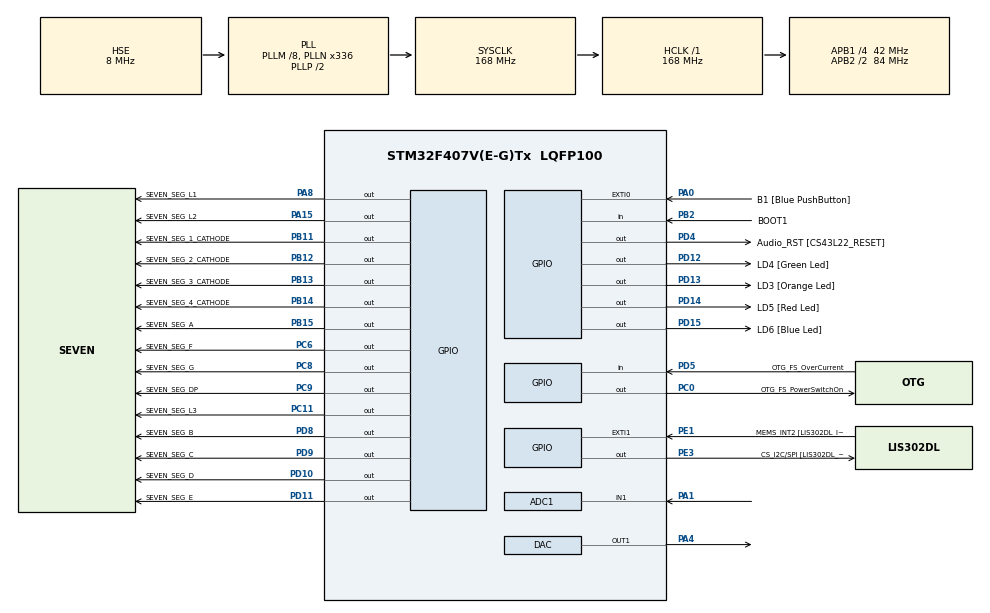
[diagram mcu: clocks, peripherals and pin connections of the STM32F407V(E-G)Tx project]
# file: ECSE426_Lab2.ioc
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ADC1.Channel-0\#ChannelRegularConversion=ADC_CHANNEL_1
ADC1.NbrOfConversionFlag=1
ADC1.Rank-0\#ChannelRegularConversion=1
ADC1.Resolution=ADC_RESOLUTION_10B
ADC1.SamplingTime-0\#ChannelRegularConversion=ADC_SAMPLETIME_3CYCLES
ADC1.master=1
Mcu.Family=STM32F4
Mcu.Name=STM32F407V(E-G)Tx
Mcu.Package=LQFP100
NVIC.ADC_IRQn=true\:0\:0\:false\:true\:true\:1\:true
NVIC.PriorityGroup=NVIC_PRIORITYGROUP_0
PA0-WKUP.GPIO_Label=B1 [Blue PushButton]
PA0-WKUP.GPIO_ModeDefaultEXTI=GPIO_MODE_EVT_RISING
PA0-WKUP.GPIO_PuPd=GPIO_NOPULL
PA0-WKUP.Signal=GPXTI0
PA1.Signal=ADCx_IN1
PA10.GPIO_Label=OTG_FS_ID
PA10.GPIO_Mode=GPIO_MODE_AF_PP
PA10.GPIO_PuPd=GPIO_NOPULL
PA10.GPIO_Speed=GPIO_SPEED_FREQ_LOW
PA10.Signal=USB_OTG_FS_ID
PA11.GPIO_Label=OTG_FS_DM
PA11.GPIO_Mode=GPIO_MODE_AF_PP
PA11.GPIO_PuPd=GPIO_NOPULL
PA11.GPIO_Speed=GPIO_SPEED_FREQ_LOW
PA11.Signal=USB_OTG_FS_DM
PA12.GPIO_Label=OTG_FS_DP
PA12.GPIO_Mode=GPIO_MODE_AF_PP
PA12.GPIO_PuPd=GPIO_NOPULL
PA12.GPIO_Speed=GPIO_SPEED_FREQ_LOW
PA12.Signal=USB_OTG_FS_DP
PA13.GPIO_Label=SWDIO
PA13.Mode=Serial_Wire
PA13.Signal=SYS_JTMS-SWDIO
PA14.GPIO_Label=SWCLK
PA14.Mode=Serial_Wire
PA14.Signal=SYS_JTCK-SWCLK
PA15.GPIO_Label=SEVEN_SEG_L2
PA15.Signal=GPIO_Output
PA4.Signal=COMP_DAC1_group
PA5.GPIO_Label=SPI1_SCK [LIS302DL_SCL/SPC]
PA5.GPIO_Mode=GPIO_MODE_AF_PP
PA5.GPIO_PuPd=GPIO_NOPULL
PA5.GPIO_Speed=GPIO_SPEED_FREQ_LOW
PA5.Signal=SPI1_SCK
PA6.GPIO_Label=SPI1_MISO [LIS302DL_SDO]
PA6.GPIO_Mode=GPIO_MODE_AF_PP
PA6.GPIO_PuPd=GPIO_NOPULL
PA6.GPIO_Speed=GPIO_SPEED_FREQ_LOW
PA6.Signal=SPI1_MISO
PA7.GPIO_Label=SPI1_MOSI [LIS302DL_SDA/SDI/SDO]
PA7.GPIO_Mode=GPIO_MODE_AF_PP
PA7.GPIO_PuPd=GPIO_NOPULL
PA7.GPIO_Speed=GPIO_SPEED_FREQ_LOW
PA7.Signal=SPI1_MOSI
PA8.GPIO_Label=SEVEN_SEG_L1
PA8.Signal=GPIO_Output
PA9.GPIO_Label=VBUS_FS
PA9.GPIO_Mode=GPIO_MODE_INPUT
PA9.GPIO_PuPd=GPIO_NOPULL
PA9.Signal=USB_OTG_FS_VBUS
PB10.GPIO_Label=CLK_IN [MP45DT02_CLK]
PB10.GPIO_Mode=GPIO_MODE_AF_PP
PB10.GPIO_PuPd=GPIO_NOPULL
PB10.GPIO_Speed=GPIO_SPEED_FREQ_LOW
PB10.Signal=I2S2_CK
PB11.GPIO_Label=SEVEN_SEG_1_CATHODE 
PB11.Signal=GPIO_Output
PB12.GPIO_Label=SEVEN_SEG_2_CATHODE
PB12.Signal=GPIO_Output
PB13.GPIO_Label=SEVEN_SEG_3_CATHODE
PB13.Signal=GPIO_Output
PB14.GPIO_Label=SEVEN_SEG_4_CATHODE
PB14.Signal=GPIO_Output
PB15.GPIO_Label=SEVEN_SEG_A
PB15.Signal=GPIO_Output
PB2.GPIO_Label=BOOT1
PB2.GPIO_Mode=GPIO_MODE_INPUT
PB2.GPIO_PuPd=GPIO_NOPULL
PB2.Signal=GPIO_Input
PB3.GPIO_Label=SWO
PB3.Signal=SYS_JTDO-SWO
PB6.GPIO_Label=Audio_SCL [CS43L22_SCL]
PB6.GPIO_Mode=GPIO_MODE_AF_OD
PB6.GPIO_PuPd=GPIO_NOPULL
PB6.GPIO_Speed=GPIO_SPEED_FREQ_LOW
PB6.Signal=I2C1_SCL
PB9.GPIO_Label=Audio_SDA [CS43L22_SDA]
PB9.GPIO_Mode=GPIO_MODE_AF_OD
PB9.GPIO_PuPd=GPIO_NOPULL
PB9.GPIO_Speed=GPIO_SPEED_FREQ_LOW
PB9.Signal=I2C1_SDA
PC0.GPIO_Label=OTG_FS_PowerSwitchOn
PC0.GPIO_PuPd=GPIO_NOPULL
PC0.GPIO_Speed=GPIO_SPEED_FREQ_LOW
PC0.PinState=GPIO_PIN_SET
PC0.Signal=GPIO_Output
PC10.GPIO_Label=I2S3_SCK [CS43L22_SCLK]
PC10.GPIO_Mode=GPIO_MODE_AF_PP
PC10.GPIO_PuPd=GPIO_NOPULL
PC10.GPIO_Speed=GPIO_SPEED_FREQ_LOW
PC10.Signal=I2S3_CK
PC11.GPIO_Label=SEVEN_SEG_L3
PC11.Signal=GPIO_Output
PC12.GPIO_Label=I2S3_SD [CS43L22_SDIN]
PC12.GPIO_Mode=GPIO_MODE_AF_PP
PC12.GPIO_PuPd=GPIO_NOPULL
PC12.GPIO_Speed=GPIO_SPEED_FREQ_LOW
PC12.Signal=I2S3_SD
PC14-OSC32_IN.GPIO_Label=PC14-OSC32_IN
PC14-OSC32_IN.Signal=RCC_OSC32_IN
PC15-OSC32_OUT.GPIO_Label=PC15-OSC32_OUT
PC15-OSC32_OUT.Signal=RCC_OSC32_OUT
PC3.GPIO_Label=PDM_OUT [MP45DT02_DOUT]
PC3.GPIO_Mode=GPIO_MODE_AF_PP
PC3.GPIO_PuPd=GPIO_NOPULL
PC3.GPIO_Speed=GPIO_SPEED_FREQ_LOW
PC3.Signal=I2S2_SD
PC6.GPIO_Label=SEVEN_SEG_F
PC6.Signal=GPIO_Output
PC7.GPIO_Label=I2S3_MCK [CS43L22_MCLK]
PC7.GPIO_Mode=GPIO_MODE_AF_PP
PC7.GPIO_PuPd=GPIO_NOPULL
PC7.GPIO_Speed=GPIO_SPEED_FREQ_LOW
PC7.Signal=I2S3_MCK
PC8.GPIO_Label=SEVEN_SEG_G
PC8.Signal=GPIO_Output
PC9.GPIO_Label=SEVEN_SEG_DP
PC9.Signal=GPIO_Output
PD10.GPIO_Label=SEVEN_SEG_D
PD10.Signal=GPIO_Output
PD11.GPIO_Label=SEVEN_SEG_E
PD11.Signal=GPIO_Output
PD12.GPIO_Label=LD4 [Green Led]
PD12.GPIO_PuPd=GPIO_NOPULL
PD12.GPIO_Speed=GPIO_SPEED_FREQ_LOW
PD12.Signal=GPIO_Output
PD13.GPIO_Label=LD3 [Orange Led]
PD13.GPIO_PuPd=GPIO_NOPULL
PD13.GPIO_Speed=GPIO_SPEED_FREQ_LOW
PD13.Signal=GPIO_Output
PD14.GPIO_Label=LD5 [Red Led]
PD14.GPIO_PuPd=GPIO_NOPULL
PD14.GPIO_Speed=GPIO_SPEED_FREQ_LOW
PD14.Signal=GPIO_Output
PD15.GPIO_Label=LD6 [Blue Led]
PD15.GPIO_PuPd=GPIO_NOPULL
PD15.GPIO_Speed=GPIO_SPEED_FREQ_LOW
PD15.Signal=GPIO_Output
PD4.GPIO_Label=Audio_RST [CS43L22_RESET]
PD4.GPIO_PuPd=GPIO_NOPULL
PD4.GPIO_Speed=GPIO_SPEED_FREQ_LOW
PD4.Signal=GPIO_Output
PD5.GPIO_Label=OTG_FS_OverCurrent
PD5.GPIO_Mode=GPIO_MODE_INPUT
PD5.GPIO_PuPd=GPIO_NOPULL
PD5.Signal=GPIO_Input
PD8.GPIO_Label=SEVEN_SEG_B
PD8.Signal=GPIO_Output
PD9.GPIO_Label=SEVEN_SEG_C
PD9.Signal=GPIO_Output
PE1.GPIO_Label=MEMS_INT2 [LIS302DL_INT2]
PE1.GPIO_ModeDefaultEXTI=GPIO_MODE_EVT_RISING
PE1.GPIO_PuPd=GPIO_NOPULL
PE1.Signal=GPXTI1
PE3.GPIO_Label=CS_I2C/SPI [LIS302DL_CS_I2C/SPI]
PE3.GPIO_PuPd=GPIO_NOPULL
PE3.GPIO_Speed=GPIO_SPEED_FREQ_LOW
PE3.Signal=GPIO_Output
PH0-OSC_IN.GPIO_Label=PH0-OSC_IN
PH0-OSC_IN.Mode=HSE-External-Oscillator
PH0-OSC_IN.Signal=RCC_OSC_IN
PH1-OSC_OUT.GPIO_Label=PH1-OSC_OUT
PH1-OSC_OUT.Mode=HSE-External-Oscillator
PH1-OSC_OUT.Signal=RCC_OSC_OUT
ProjectManager.HeapSize=0x200
ProjectManager.StackSize=0x400
ProjectManager.TargetToolchain=MDK-ARM V5
RCC.48MHZClocksFreq_Value=48000000
RCC.AHBFreq_Value=168000000
RCC.APB1CLKDivider=RCC_HCLK_DIV4
RCC.APB1Freq_Value=42000000
RCC.APB1TimFreq_Value=84000000
RCC.APB2CLKDivider=RCC_HCLK_DIV2
RCC.APB2Freq_Value=84000000
RCC.APB2TimFreq_Value=168000000
RCC.CortexFreq_Value=168000000
RCC.HCLKFreq_Value=168000000
RCC.HSE_VALUE=8000000
RCC.HSI_VALUE=16000000
RCC.LSE_VALUE=32768
RCC.PLLM=8
RCC.PLLN=336
RCC.PLLQ=7
RCC.PLLSourceVirtual=RCC_PLLSOURCE_HSE
RCC.SYSCLKFreq_VALUE=168000000
RCC.SYSCLKSource=RCC_SYSCLKSOURCE_PLLCLK
RCC.VCOOutputFreq_Value=336000000
SH.ADCx_IN1.0=ADC1_IN1,IN1
SH.COMP_DAC1_group.0=DAC_OUT1,DAC_OUT1
board=STM32F4DISCOVERY

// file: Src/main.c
/**
  ******************************************************************************
  * @file           : main.c
  * @brief          : Main program body
  ******************************************************************************
  ** This notice applies to any and all portions of this file
  * that are not between comment pairs USER CODE BEGIN and
  * USER CODE END. Other portions of this file, whether
  * inserted by the user or by software development tools
  * are owned by their respective copyright owners.
  *
  * COPYRIGHT(c) 2018 STMicroelectronics
  *
  * Redistribution and use in source and binary forms, with or without modification,
  * are permitted provided that the following conditions are met:
  *   1. Redistributions of source code must retain the above copyright notice,
  *      this list of conditions and the following disclaimer.
  *   2. Redistributions in binary form must reproduce the above copyright notice,
  *      this list of conditions and the following disclaimer in the documentation
  *      and/or other materials provided with the distribution.
  *   3. Neither the name of STMicroelectronics nor the names of its contributors
  *      may be used to endorse or promote products derived from this software
  *      without specific prior written permission.
  *
  * THIS SOFTWARE IS PROVIDED BY THE COPYRIGHT HOLDERS AND CONTRIBUTORS "AS IS"
  * AND ANY EXPRESS OR IMPLIED WARRANTIES, INCLUDING, BUT NOT LIMITED TO, THE
  * IMPLIED WARRANTIES OF MERCHANTABILITY AND FITNESS FOR A PARTICULAR PURPOSE ARE
  * DISCLAIMED. IN NO EVENT SHALL THE COPYRIGHT HOLDER OR CONTRIBUTORS BE LIABLE
  * FOR ANY DIRECT, INDIRECT, INCIDENTAL, SPECIAL, EXEMPLARY, OR CONSEQUENTIAL
  * DAMAGES (INCLUDING, BUT NOT LIMITED TO, PROCUREMENT OF SUBSTITUTE GOODS OR
  * SERVICES; LOSS OF USE, DATA, OR PROFITS; OR BUSINESS INTERRUPTION) HOWEVER
  * CAUSED AND ON ANY THEORY OF LIABILITY, WHETHER IN CONTRACT, STRICT LIABILITY,
  * OR TORT (INCLUDING NEGLIGENCE OR OTHERWISE) ARISING IN ANY WAY OUT OF THE USE
  * OF THIS SOFTWARE, EVEN IF ADVISED OF THE POSSIBILITY OF SUCH DAMAGE.
  *
  ******************************************************************************
  */
#include "main.h"
#include "stm32f4xx_hal.h"
#include "stm32f4xx_it.c"

ADC_HandleTypeDef hadc1;

DAC_HandleTypeDef hdac;
uint32_t adcConversion = 0;

/* USER CODE BEGIN PV */
/* Private variables ---------------------------------------------------------*/

/* USER CODE END PV */

void SystemClock_Config(void);
static void MX_GPIO_Init(void);
static void MX_ADC1_Init(void);
static void MX_DAC_Init(void);
static void MX_NVIC_Init(void);
void HAL_ADC_ConvCpltCallback(ADC_HandleTypeDef* hadc);
void FIR_C(int input, float* output);
/* USER CODE BEGIN PFP */
/* Private function prototypes -----------------------------------------------*/

/* USER CODE END PFP */

int main(void)
{
  /* USER CODE BEGIN 1 */
	static int counter = 0;
  /* USER CODE END 1 */

  /* MCU Configuration----------------------------------------------------------*/

  /* Reset of all peripherals, Initializes the Flash interface and the Systick. */
  HAL_Init();

  /* Configure the system clock */
  SystemClock_Config();

  /* Initialize all configured peripherals */
  MX_GPIO_Init();
  MX_ADC1_Init();
  MX_DAC_Init();

  /* Initialize interrupts */
  MX_NVIC_Init();
  /* USER CODE BEGIN 2 */
	HAL_DAC_Start(&hdac, DAC_CHANNEL_1);
	HAL_DAC_SetValue(&hdac, DAC_CHANNEL_1, DAC_ALIGN_12B_R, 0x01);
  /* USER CODE END 2 */

  /* Infinite loop */
  while (1)
  {

  /* USER CODE BEGIN 3 */
	if(adcTrigger == 1 && counter < 10){
		adcTrigger = 0;

		HAL_ADC_Start_IT(&hadc1);  //adc conversion is done through "callback" and conversion is passed into filter

		FIR_C(adcConversion, output);

		counter++;

		HAL_ADC_Stop_IT(&hadc1); //disable the ADC interrupt
  }

  /* USER CODE END 3 */

	}
}

void SystemClock_Config(void)
{

  RCC_OscInitTypeDef RCC_OscInitStruct;
  RCC_ClkInitTypeDef RCC_ClkInitStruct;

    /**Configure the main internal regulator output voltage
    */
  __HAL_RCC_PWR_CLK_ENABLE();

  __HAL_PWR_VOLTAGESCALING_CONFIG(PWR_REGULATOR_VOLTAGE_SCALE1);

    /**Initializes the CPU, AHB and APB busses clocks
    */
  RCC_OscInitStruct.OscillatorType = RCC_OSCILLATORTYPE_HSE;
  RCC_OscInitStruct.HSEState = RCC_HSE_ON;
  RCC_OscInitStruct.PLL.PLLState = RCC_PLL_ON;
  RCC_OscInitStruct.PLL.PLLSource = RCC_PLLSOURCE_HSE;
  RCC_OscInitStruct.PLL.PLLM = 8;
  RCC_OscInitStruct.PLL.PLLN = 336;
  RCC_OscInitStruct.PLL.PLLP = RCC_PLLP_DIV2;
  RCC_OscInitStruct.PLL.PLLQ = 7;
  if (HAL_RCC_OscConfig(&RCC_OscInitStruct) != HAL_OK)
  {
    _Error_Handler(__FILE__, __LINE__);
  }

    /**Initializes the CPU, AHB and APB busses clocks
    */
  RCC_ClkInitStruct.ClockType = RCC_CLOCKTYPE_HCLK|RCC_CLOCKTYPE_SYSCLK
                              |RCC_CLOCKTYPE_PCLK1|RCC_CLOCKTYPE_PCLK2;
  RCC_ClkInitStruct.SYSCLKSource = RCC_SYSCLKSOURCE_PLLCLK;
  RCC_ClkInitStruct.AHBCLKDivider = RCC_SYSCLK_DIV1;
  RCC_ClkInitStruct.APB1CLKDivider = RCC_HCLK_DIV4;
  RCC_ClkInitStruct.APB2CLKDivider = RCC_HCLK_DIV2;

  if (HAL_RCC_ClockConfig(&RCC_ClkInitStruct, FLASH_LATENCY_5) != HAL_OK)
  {
    _Error_Handler(__FILE__, __LINE__);
  }

    /**Configure the Systick interrupt time
    */
  HAL_SYSTICK_Config(HAL_RCC_GetHCLKFreq()/50);

    /**Configure the Systick
    */
  HAL_SYSTICK_CLKSourceConfig(SYSTICK_CLKSOURCE_HCLK);

  /* SysTick_IRQn interrupt configuration */
  HAL_NVIC_SetPriority(SysTick_IRQn, 0, 0);
}

/**
  * @brief NVIC Configuration.
  * @retval None
  */
static void MX_NVIC_Init(void)
{
  /* ADC_IRQn interrupt configuration */
  HAL_NVIC_SetPriority(ADC_IRQn, 0, 0);
  HAL_NVIC_EnableIRQ(ADC_IRQn);
}

/* ADC1 init function */
static void MX_ADC1_Init(void)
{

  ADC_ChannelConfTypeDef sConfig;

    /**Configure the global features of the ADC (Clock, Resolution, Data Alignment and number of conversion)
    */
  hadc1.Instance = ADC1;
  hadc1.Init.ClockPrescaler = ADC_CLOCK_SYNC_PCLK_DIV4;
  hadc1.Init.Resolution = ADC_RESOLUTION_10B;
  hadc1.Init.ScanConvMode = DISABLE;
  hadc1.Init.ContinuousConvMode = DISABLE;
  hadc1.Init.DiscontinuousConvMode = DISABLE;
  hadc1.Init.ExternalTrigConvEdge = ADC_EXTERNALTRIGCONVEDGE_NONE;
  hadc1.Init.ExternalTrigConv = ADC_SOFTWARE_START;
  hadc1.Init.DataAlign = ADC_DATAALIGN_RIGHT;
  hadc1.Init.NbrOfConversion = 1;
  hadc1.Init.DMAContinuousRequests = DISABLE;
  hadc1.Init.EOCSelection = ADC_EOC_SINGLE_CONV;
  if (HAL_ADC_Init(&hadc1) != HAL_OK)
  {
    _Error_Handler(__FILE__, __LINE__);
  }

    /**Configure for the selected ADC regular channel its corresponding rank in the sequencer and its sample time.
    */
  sConfig.Channel = ADC_CHANNEL_1;
  sConfig.Rank = 1;
  sConfig.SamplingTime = ADC_SAMPLETIME_3CYCLES;
  if (HAL_ADC_ConfigChannel(&hadc1, &sConfig) != HAL_OK)
  {
    _Error_Handler(__FILE__, __LINE__);
  }

}

/* DAC init function */
static void MX_DAC_Init(void){

  DAC_ChannelConfTypeDef sConfig;

    /**DAC Initialization
    */
  hdac.Instance = DAC;
  if (HAL_DAC_Init(&hdac) != HAL_OK)
  {
    _Error_Handler(__FILE__, __LINE__);
  }

    /**DAC channel OUT1 config
    */
  sConfig.DAC_Trigger = DAC_TRIGGER_NONE;
  sConfig.DAC_OutputBuffer = DAC_OUTPUTBUFFER_ENABLE;
  if (HAL_DAC_ConfigChannel(&hdac, &sConfig, DAC_CHANNEL_1) != HAL_OK)
  {
    _Error_Handler(__FILE__, __LINE__);
  }

}

/** Configure pins as
        * Analog
        * Input
        * Output
        * EVENT_OUT
        * EXTI
     PC3   ------> I2S2_SD
     PA5   ------> SPI1_SCK
     PA6   ------> SPI1_MISO
     PA7   ------> SPI1_MOSI
     PB10   ------> I2S2_CK
     PC7   ------> I2S3_MCK
     PA9   ------> USB_OTG_FS_VBUS
     PA10   ------> USB_OTG_FS_ID
     PA11   ------> USB_OTG_FS_DM
     PA12   ------> USB_OTG_FS_DP
     PC10   ------> I2S3_CK
     PC12   ------> I2S3_SD
     PB6   ------> I2C1_SCL
     PB9   ------> I2C1_SDA
*/
static void MX_GPIO_Init(void)
{

  GPIO_InitTypeDef GPIO_InitStruct;

  /* GPIO Ports Clock Enable */
  __HAL_RCC_GPIOE_CLK_ENABLE();
  __HAL_RCC_GPIOC_CLK_ENABLE();
  __HAL_RCC_GPIOH_CLK_ENABLE();
  __HAL_RCC_GPIOA_CLK_ENABLE();
  __HAL_RCC_GPIOB_CLK_ENABLE();
  __HAL_RCC_GPIOD_CLK_ENABLE();

  /*Configure GPIO pin Output Level */
  HAL_GPIO_WritePin(CS_I2C_SPI_GPIO_Port, CS_I2C_SPI_Pin, GPIO_PIN_RESET);

  /*Configure GPIO pin Output Level */
  HAL_GPIO_WritePin(OTG_FS_PowerSwitchOn_GPIO_Port, OTG_FS_PowerSwitchOn_Pin, GPIO_PIN_SET);

  /*Configure GPIO pin Output Level */
  HAL_GPIO_WritePin(GPIOB, SEVEN_SEG_1_CATHODE_Pin|SEVEN_SEG_2_CATHODE_Pin|SEVEN_SEG_3_CATHODE_Pin|SEVEN_SEG_4_CATHODE_Pin
                          |SEVEN_SEG_A_Pin, GPIO_PIN_RESET);

  /*Configure GPIO pin Output Level */
  HAL_GPIO_WritePin(GPIOD, SEVEN_SEG_B_Pin|SEVEN_SEG_C_Pin|SEVEN_SEG_D_Pin|SEVEN_SEG_E_Pin
                          |LD4_Pin|LD3_Pin|LD5_Pin|LD6_Pin
                          |Audio_RST_Pin, GPIO_PIN_RESET);

  /*Configure GPIO pin Output Level */
  HAL_GPIO_WritePin(GPIOC, SEVEN_SEG_F_Pin|SEVEN_SEG_G_Pin|SEVEN_SEG_DP_Pin|SEVEN_SEG_L3_Pin, GPIO_PIN_RESET);

  /*Configure GPIO pin Output Level */
  HAL_GPIO_WritePin(GPIOA, SEVEN_SEG_L1_Pin|SEVEN_SEG_L2_Pin, GPIO_PIN_RESET);

  /*Configure GPIO pin : CS_I2C_SPI_Pin */
  GPIO_InitStruct.Pin = CS_I2C_SPI_Pin;
  GPIO_InitStruct.Mode = GPIO_MODE_OUTPUT_PP;
  GPIO_InitStruct.Pull = GPIO_NOPULL;
  GPIO_InitStruct.Speed = GPIO_SPEED_FREQ_LOW;
  HAL_GPIO_Init(CS_I2C_SPI_GPIO_Port, &GPIO_InitStruct);

  /*Configure GPIO pins : OTG_FS_PowerSwitchOn_Pin SEVEN_SEG_F_Pin SEVEN_SEG_G_Pin SEVEN_SEG_DP_Pin
                           SEVEN_SEG_L3_Pin */
  GPIO_InitStruct.Pin = OTG_FS_PowerSwitchOn_Pin|SEVEN_SEG_F_Pin|SEVEN_SEG_G_Pin|SEVEN_SEG_DP_Pin
                          |SEVEN_SEG_L3_Pin;
  GPIO_InitStruct.Mode = GPIO_MODE_OUTPUT_PP;
  GPIO_InitStruct.Pull = GPIO_NOPULL;
  GPIO_InitStruct.Speed = GPIO_SPEED_FREQ_LOW;
  HAL_GPIO_Init(GPIOC, &GPIO_InitStruct);

  /*Configure GPIO pin : PDM_OUT_Pin */
  GPIO_InitStruct.Pin = PDM_OUT_Pin;
  GPIO_InitStruct.Mode = GPIO_MODE_AF_PP;
  GPIO_InitStruct.Pull = GPIO_NOPULL;
  GPIO_InitStruct.Speed = GPIO_SPEED_FREQ_LOW;
  GPIO_InitStruct.Alternate = GPIO_AF5_SPI2;
  HAL_GPIO_Init(PDM_OUT_GPIO_Port, &GPIO_InitStruct);

  /*Configure GPIO pin : B1_Pin */
  GPIO_InitStruct.Pin = B1_Pin;
  GPIO_InitStruct.Mode = GPIO_MODE_EVT_RISING;
  GPIO_InitStruct.Pull = GPIO_NOPULL;
  HAL_GPIO_Init(B1_GPIO_Port, &GPIO_InitStruct);

  /*Configure GPIO pins : SPI1_SCK_Pin SPI1_MISO_Pin SPI1_MOSI_Pin */
  GPIO_InitStruct.Pin = SPI1_SCK_Pin|SPI1_MISO_Pin|SPI1_MOSI_Pin;
  GPIO_InitStruct.Mode = GPIO_MODE_AF_PP;
  GPIO_InitStruct.Pull = GPIO_NOPULL;
  GPIO_InitStruct.Speed = GPIO_SPEED_FREQ_LOW;
  GPIO_InitStruct.Alternate = GPIO_AF5_SPI1;
  HAL_GPIO_Init(GPIOA, &GPIO_InitStruct);

  /*Configure GPIO pin : BOOT1_Pin */
  GPIO_InitStruct.Pin = BOOT1_Pin;
  GPIO_InitStruct.Mode = GPIO_MODE_INPUT;
  GPIO_InitStruct.Pull = GPIO_NOPULL;
  HAL_GPIO_Init(BOOT1_GPIO_Port, &GPIO_InitStruct);

  /*Configure GPIO pin : CLK_IN_Pin */
  GPIO_InitStruct.Pin = CLK_IN_Pin;
  GPIO_InitStruct.Mode = GPIO_MODE_AF_PP;
  GPIO_InitStruct.Pull = GPIO_NOPULL;
  GPIO_InitStruct.Speed = GPIO_SPEED_FREQ_LOW;
  GPIO_InitStruct.Alternate = GPIO_AF5_SPI2;
  HAL_GPIO_Init(CLK_IN_GPIO_Port, &GPIO_InitStruct);

  /*Configure GPIO pins : SEVEN_SEG_1_CATHODE_Pin SEVEN_SEG_2_CATHODE_Pin SEVEN_SEG_3_CATHODE_Pin SEVEN_SEG_4_CATHODE_Pin
                           SEVEN_SEG_A_Pin */
  GPIO_InitStruct.Pin = SEVEN_SEG_1_CATHODE_Pin|SEVEN_SEG_2_CATHODE_Pin|SEVEN_SEG_3_CATHODE_Pin|SEVEN_SEG_4_CATHODE_Pin
                          |SEVEN_SEG_A_Pin;
  GPIO_InitStruct.Mode = GPIO_MODE_OUTPUT_PP;
  GPIO_InitStruct.Pull = GPIO_NOPULL;
  GPIO_InitStruct.Speed = GPIO_SPEED_FREQ_LOW;
  HAL_GPIO_Init(GPIOB, &GPIO_InitStruct);

  /*Configure GPIO pins : SEVEN_SEG_B_Pin SEVEN_SEG_C_Pin SEVEN_SEG_D_Pin SEVEN_SEG_E_Pin
                           LD4_Pin LD3_Pin LD5_Pin LD6_Pin
                           Audio_RST_Pin */
  GPIO_InitStruct.Pin = SEVEN_SEG_B_Pin|SEVEN_SEG_C_Pin|SEVEN_SEG_D_Pin|SEVEN_SEG_E_Pin
                          |LD4_Pin|LD3_Pin|LD5_Pin|LD6_Pin
                          |Audio_RST_Pin;
  GPIO_InitStruct.Mode = GPIO_MODE_OUTPUT_PP;
  GPIO_InitStruct.Pull = GPIO_NOPULL;
  GPIO_InitStruct.Speed = GPIO_SPEED_FREQ_LOW;
  HAL_GPIO_Init(GPIOD, &GPIO_InitStruct);

  /*Configure GPIO pins : I2S3_MCK_Pin I2S3_SCK_Pin I2S3_SD_Pin */
  GPIO_InitStruct.Pin = I2S3_MCK_Pin|I2S3_SCK_Pin|I2S3_SD_Pin;
  GPIO_InitStruct.Mode = GPIO_MODE_AF_PP;
  GPIO_InitStruct.Pull = GPIO_NOPULL;
  GPIO_InitStruct.Speed = GPIO_SPEED_FREQ_LOW;
  GPIO_InitStruct.Alternate = GPIO_AF6_SPI3;
  HAL_GPIO_Init(GPIOC, &GPIO_InitStruct);

  /*Configure GPIO pins : SEVEN_SEG_L1_Pin SEVEN_SEG_L2_Pin */
  GPIO_InitStruct.Pin = SEVEN_SEG_L1_Pin|SEVEN_SEG_L2_Pin;
  GPIO_InitStruct.Mode = GPIO_MODE_OUTPUT_PP;
  GPIO_InitStruct.Pull = GPIO_NOPULL;
  GPIO_InitStruct.Speed = GPIO_SPEED_FREQ_LOW;
  HAL_GPIO_Init(GPIOA, &GPIO_InitStruct);

  /*Configure GPIO pin : VBUS_FS_Pin */
  GPIO_InitStruct.Pin = VBUS_FS_Pin;
  GPIO_InitStruct.Mode = GPIO_MODE_INPUT;
  GPIO_InitStruct.Pull = GPIO_NOPULL;
  HAL_GPIO_Init(VBUS_FS_GPIO_Port, &GPIO_InitStruct);

  /*Configure GPIO pins : OTG_FS_ID_Pin OTG_FS_DM_Pin OTG_FS_DP_Pin */
  GPIO_InitStruct.Pin = OTG_FS_ID_Pin|OTG_FS_DM_Pin|OTG_FS_DP_Pin;
  GPIO_InitStruct.Mode = GPIO_MODE_AF_PP;
  GPIO_InitStruct.Pull = GPIO_NOPULL;
  GPIO_InitStruct.Speed = GPIO_SPEED_FREQ_LOW;
  GPIO_InitStruct.Alternate = GPIO_AF10_OTG_FS;
  HAL_GPIO_Init(GPIOA, &GPIO_InitStruct);

  /*Configure GPIO pin : OTG_FS_OverCurrent_Pin */
  GPIO_InitStruct.Pin = OTG_FS_OverCurrent_Pin;
  GPIO_InitStruct.Mode = GPIO_MODE_INPUT;
  GPIO_InitStruct.Pull = GPIO_NOPULL;
  HAL_GPIO_Init(OTG_FS_OverCurrent_GPIO_Port, &GPIO_InitStruct);

  /*Configure GPIO pins : Audio_SCL_Pin Audio_SDA_Pin */
  GPIO_InitStruct.Pin = Audio_SCL_Pin|Audio_SDA_Pin;
  GPIO_InitStruct.Mode = GPIO_MODE_AF_OD;
  GPIO_InitStruct.Pull = GPIO_PULLUP;
  GPIO_InitStruct.Speed = GPIO_SPEED_FREQ_LOW;
  GPIO_InitStruct.Alternate = GPIO_AF4_I2C1;
  HAL_GPIO_Init(GPIOB, &GPIO_InitStruct);

  /*Configure GPIO pin : MEMS_INT2_Pin */
  GPIO_InitStruct.Pin = MEMS_INT2_Pin;
  GPIO_InitStruct.Mode = GPIO_MODE_EVT_RISING;
  GPIO_InitStruct.Pull = GPIO_NOPULL;
  HAL_GPIO_Init(MEMS_INT2_GPIO_Port, &GPIO_InitStruct);

}

/* USER CODE BEGIN 4 */
void HAL_ADC_ConvCpltCallback(ADC_HandleTypeDef* hadc){
	adcConversion = HAL_ADC_GetValue(hadc);
}

void FIR_C{int input, float* output) {

	int x[5] = {0};
	float coefficients[5] = {0.1,0.15,0.5,0.15,0.1};

	for(int i = 0; i < 4; i++){
		x[i] = x[i+1];
	}
	x[4] = input;

	*output = 0;
	for(int i = 0; i < 5; i++){
		*output = *output + x[i] * coefficients[i];
	}
}

/* USER CODE END 4 */

void _Error_Handler(char *file, int line)
{
  while(1)
  {
  }
}

/************************ (C) COPYRIGHT STMicroelectronics *****END OF FILE****/
